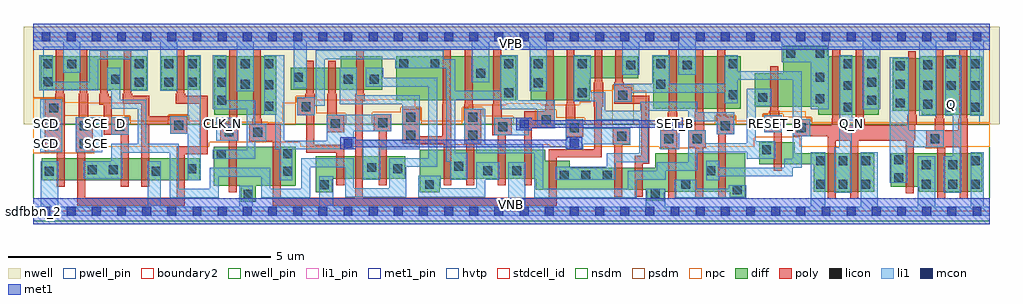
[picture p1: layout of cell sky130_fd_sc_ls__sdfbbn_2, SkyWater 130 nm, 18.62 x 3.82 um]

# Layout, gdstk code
import gdstk
lib = gdstk.Library(unit=1e-6, precision=1e-09)
def R(c, l, rs):  # rectangles x0, y0, x1, y1
    for r in rs: c.add(gdstk.rectangle(r[:2], r[2:], *l))
def A(c, l, x, y, w, h, nx, ny, dx, dy):  # array of equal rectangles
    R(c, l, [(x+i*dx, y+j*dy, x+i*dx+w, y+j*dy+h) for i in range(nx) for j in range(ny)])
def P(c, l, *ps):  # polygons
    for p in ps: c.add(gdstk.Polygon(p, *l))
nwell_pin = (64, 16)
nwell = (64, 20)
diff = (65, 20)
poly = (66, 20)
licon = (66, 44)
li1_pin = (67, 16)
li1 = (67, 20)
mcon = (67, 44)
met1_pin = (68, 16)
met1 = (68, 20)
hvtp = (78, 44)
stdcell_id = (81, 4)
nsdm = (93, 44)
psdm = (94, 20)
npc = (95, 20)
pwell_pin = (122, 16)
boundary2 = (236, 0)

sky130_fd_sc_ls__sdfbbn_ = lib.new_cell('sky130_fd_sc_ls__sdfbbn_2')
R(sky130_fd_sc_ls__sdfbbn_, nwell_pin, [(0,3.085,18.24,3.33)])
R(sky130_fd_sc_ls__sdfbbn_, nwell, [(-0.19,1.66,18.43,3.52)])
R(sky130_fd_sc_ls__sdfbbn_, diff, [(0.16,0.595,3.17,1.015), (3.445,1.84,4.635,2.96), (11.825,1.96,13.495,2.96), (6.92,2.12,9.215,2.96), (0.135,2.32,2.165,2.96), (2.435,2.32,3.175,2.96)])
P(sky130_fd_sc_ls__sdfbbn_, diff, [(5,1.23),(3.44,1.23),(3.44,0.49),(3.95,0.49),(3.95,0.18),(4.24,0.18),(4.24,0.49),(5,0.49)],
  [(6.65,2.96),(5.86,2.96),(5.86,2.74),(4.905,2.74),(4.905,2.32),(6.65,2.32)],
  [(7.095,1.045),(5.39,1.045),(5.39,0.36),(5.7,0.36),(5.7,0.625),(7.095,0.625)],
  [(11.54,2.96),(9.485,2.96),(9.485,2.12),(10.615,2.12),(10.615,2.54),(11.54,2.54)],
  [(13.575,1.11),(11.86,1.11),(11.86,0.83),(10.235,0.83),(10.235,0.96),(9.76,0.96),(9.76,1.175),(7.365,1.175),(7.365,0.365),(7.75,0.365),(7.75,0.625),(9.585,0.625),(9.585,0.41),(11.7,0.41),(11.7,0.2),(12.035,0.2),(12.035,0.37),(13.285,0.37),(13.285,0.265),(13.575,0.265)],
  [(16.045,1.11),(14.525,1.11),(14.525,1.32),(13.845,1.32),(13.845,0.9),(14.89,0.9),(14.89,0.37),(16.045,0.37)],
  [(16.125,2.96),(15.15,2.96),(15.15,3.155),(14.3,3.155),(14.3,2.635),(13.765,2.635),(13.765,1.995),(14.975,1.995),(14.975,1.84),(16.125,1.84)],
  [(18.105,2.96),(16.925,2.96),(16.925,2.92),(16.395,2.92),(16.395,1.92),(16.945,1.92),(16.945,1.84),(18.105,1.84)],
  [(18.105,1.11),(16.36,1.11),(16.36,0.47),(16.89,0.47),(16.89,0.37),(18.105,0.37)])
P(sky130_fd_sc_ls__sdfbbn_, poly, [(17.825,1.765),(17.81,1.765),(17.81,3.09),(17.66,3.09),(17.66,1.765),(17.645,1.765),(17.645,1.55),(17.375,1.55),(17.375,1.765),(17.36,1.765),(17.36,3.09),(17.21,3.09),(17.21,1.765),(17.195,1.765),(17.195,1.55),(17.035,1.55),(17.035,1.22),(17.245,1.22),(17.245,0.24),(17.395,0.24),(17.395,1.22),(17.675,1.22),(17.675,0.24),(17.825,0.24)],
  [(16.85,1.845),(16.835,1.845),(16.835,3.05),(16.685,3.05),(16.685,1.845),(16.67,1.845),(16.67,1.645),(15.855,1.645),(15.855,1.765),(15.84,1.765),(15.84,3.09),(15.69,3.09),(15.69,1.765),(15.675,1.765),(15.675,1.645),(15.405,1.645),(15.405,1.765),(15.39,1.765),(15.39,3.09),(15.24,3.09),(15.24,1.765),(15.225,1.765),(15.225,1.645),(14.815,1.645),(14.815,1.76),(14.485,1.76),(14.485,1.43),(15.155,1.43),(15.155,0.24),(15.305,0.24),(15.305,1.35),(15.585,1.35),(15.585,0.24),(15.735,0.24),(15.735,1.35),(16.645,1.35),(16.645,0.34),(16.795,0.34),(16.795,1.35),(16.825,1.35),(16.825,1.65),(16.85,1.65)],
  [(14.275,1.835),(14.225,1.835),(14.225,1.92),(14.21,1.92),(14.21,2.765),(14.06,2.765),(14.06,1.92),(14.045,1.92),(14.045,1.835),(13.945,1.835),(13.945,1.505),(14.125,1.505),(14.125,0.77),(14.275,0.77)],
  [(13.365,1.8),(13.215,1.8),(13.215,1.885),(13.2,1.885),(13.2,3.09),(13.05,3.09),(13.05,1.885),(13.035,1.885),(13.035,1.47),(13.06,1.47),(13.06,0.24),(13.21,0.24),(13.21,1.47),(13.365,1.47)],
  [(12.825,1.55),(12.795,1.55),(12.795,1.885),(12.78,1.885),(12.78,3.09),(12.63,3.09),(12.63,1.885),(12.615,1.885),(12.615,1.55),(12.495,1.55),(12.495,1.22),(12.63,1.22),(12.63,0.24),(12.78,0.24),(12.78,1.22),(12.825,1.22)],
  [(12.285,1.885),(12.27,1.885),(12.27,3.09),(12.12,3.09),(12.12,1.885),(12.105,1.885),(12.105,1.55),(11.955,1.55),(11.955,1.22),(12.11,1.22),(12.11,0.24),(12.26,0.24),(12.26,1.22),(12.285,1.22)],
  [(11.745,2.2),(11.41,2.2),(11.41,2.38),(11.26,2.38),(11.26,2.465),(11.245,2.465),(11.245,3.09),(11.095,3.09),(11.095,2.465),(11.08,2.465),(11.08,2.05),(11.595,2.05),(11.595,1.055),(11.475,1.055),(11.475,0.28),(11.625,0.28),(11.625,0.905),(11.745,0.905)],
  [(11.385,1.595),(11.055,1.595),(11.055,1.265),(11.085,1.265),(11.085,0.28),(11.235,0.28),(11.235,1.265),(11.385,1.265)],
  [(10.87,2.465),(10.855,2.465),(10.855,3.09),(10.705,3.09),(10.705,2.465),(10.69,2.465),(10.69,1.995),(10.695,1.995),(10.695,1.185),(9.835,1.185),(9.835,0.255),(6.285,0.255),(6.285,2.095),(6.32,2.095),(6.32,2.245),(6.305,2.245),(6.305,3.09),(6.155,3.09),(6.155,2.245),(6.135,2.245),(6.135,0.255),(4.715,0.255),(4.715,1.67),(4.355,1.67),(4.355,1.765),(4.34,1.765),(4.34,3.09),(4.19,3.09),(4.19,1.765),(4.175,1.765),(4.175,1.67),(4.115,1.67),(4.115,1.34),(4.565,1.34),(4.565,0.105),(9.985,0.105),(9.985,1.035),(10.845,1.035),(10.845,1.995),(10.87,1.995)],
  [(10.485,1.755),(10.335,1.755),(10.335,2.045),(10.32,2.045),(10.32,3.09),(10.17,3.09),(10.17,2.045),(10.155,2.045),(10.155,1.425),(10.485,1.425)],
  [(9.945,2.045),(9.93,2.045),(9.93,3.09),(9.78,3.09),(9.78,2.045),(9.765,2.045),(9.765,1.91),(9.36,1.91),(9.36,0.495),(9.51,0.495),(9.51,1.58),(9.945,1.58)],
  [(9.12,1.78),(8.935,1.78),(8.935,2.045),(8.92,2.045),(8.92,3.09),(8.77,3.09),(8.77,2.045),(8.755,2.045),(8.755,1.45),(8.86,1.45),(8.86,0.495),(9.01,0.495),(9.01,1.45),(9.12,1.45)],
  [(8.545,1.955),(8.395,1.955),(8.395,2.045),(8.38,2.045),(8.38,3.09),(8.23,3.09),(8.23,2.045),(8.215,2.045),(8.215,1.285),(8.255,1.285),(8.255,0.495),(8.405,0.495),(8.405,1.285),(8.545,1.285)],
  [(7.975,2.045),(7.96,2.045),(7.96,3.09),(7.81,3.09),(7.81,2.045),(7.795,2.045),(7.795,1.435),(7.365,1.435),(7.365,1.955),(7.035,1.955),(7.035,1.285),(7.825,1.285),(7.825,0.495),(7.975,0.495)],
  [(6.825,1.855),(6.495,1.855),(6.495,1.525),(6.59,1.525),(6.59,0.495),(6.74,0.495),(6.74,1.525),(6.825,1.525)],
  [(5.925,1.27),(5.355,1.27),(5.355,1.83),(5.365,1.83),(5.365,2.245),(5.35,2.245),(5.35,2.87),(5.2,2.87),(5.2,2.245),(5.185,2.245),(5.185,2.16),(5.035,2.16),(5.035,1.83),(5.205,1.83),(5.205,1.12),(5.775,1.12),(5.775,0.495),(5.925,0.495)],
  [(5.925,1.84),(5.785,1.84),(5.785,2.245),(5.77,2.245),(5.77,2.87),(5.62,2.87),(5.62,2.245),(5.605,2.245),(5.605,1.84),(5.595,1.84),(5.595,1.51),(5.925,1.51)],
  [(3.905,1.765),(3.89,1.765),(3.89,3.09),(3.74,3.09),(3.74,1.765),(3.725,1.765),(3.725,1.68),(3.565,1.68),(3.565,1.35),(3.725,1.35),(3.725,0.36),(3.875,0.36),(3.875,1.35),(3.905,1.35)],
  [(3.325,2.2),(2.895,2.2),(2.895,2.245),(2.88,2.245),(2.88,3.09),(2.73,3.09),(2.73,2.245),(2.715,2.245),(2.715,2.05),(3.175,2.05),(3.175,1.24),(2.735,1.24),(2.735,0.255),(0.985,0.255),(0.985,1.125),(1.135,1.125),(1.135,1.795),(1.045,1.795),(1.045,2.245),(1.03,2.245),(1.03,3.09),(0.88,3.09),(0.88,2.245),(0.865,2.245),(0.865,1.795),(0.805,1.795),(0.805,1.125),(0.835,1.125),(0.835,0.105),(2.885,0.105),(2.885,1.09),(3.325,1.09)],
  [(2.935,1.81),(2.205,1.81),(2.205,2.2),(1.885,2.2),(1.885,2.245),(1.87,2.245),(1.87,3.09),(1.72,3.09),(1.72,2.245),(1.705,2.245),(1.705,2.05),(2.055,2.05),(2.055,0.465),(2.205,0.465),(2.205,1.66),(2.605,1.66),(2.605,1.48),(2.935,1.48)],
  [(1.815,1.79),(1.495,1.79),(1.495,2.185),(1.435,2.185),(1.435,2.245),(1.42,2.245),(1.42,3.09),(1.27,3.09),(1.27,2.245),(1.255,2.245),(1.255,2.035),(1.345,2.035),(1.345,1.46),(1.665,1.46),(1.665,0.465),(1.815,0.465)],
  [(0.595,2.245),(0.58,2.245),(0.58,3.09),(0.43,3.09),(0.43,2.245),(0.415,2.245),(0.415,2.135),(0.22,2.135),(0.22,1.125),(0.445,1.125),(0.445,0.465),(0.595,0.465)])
A(sky130_fd_sc_ls__sdfbbn_, licon, 14.93, 0.43, 0.17, 0.17, 3, 2, 0.43, 0.45)
A(sky130_fd_sc_ls__sdfbbn_, licon, 10.04, 0.6, 0.17, 0.17, 3, 1, 0.41, 0)
A(sky130_fd_sc_ls__sdfbbn_, licon, 0.3, 1.205, 0.17, 0.17, 1, 3, 0, 0.34)
A(sky130_fd_sc_ls__sdfbbn_, licon, 15.455, 1.9, 0.17, 0.17, 1, 3, 0, 0.415)
A(sky130_fd_sc_ls__sdfbbn_, licon, 17.425, 1.9, 0.17, 0.17, 1, 3, 0, 0.415)
A(sky130_fd_sc_ls__sdfbbn_, licon, 17.875, 1.9, 0.17, 0.17, 1, 3, 0, 0.415)
A(sky130_fd_sc_ls__sdfbbn_, licon, 16.45, 1.98, 0.17, 0.17, 1, 3, 0, 0.355)
A(sky130_fd_sc_ls__sdfbbn_, licon, 15.905, 2.03, 0.17, 0.17, 1, 3, 0, 0.35)
A(sky130_fd_sc_ls__sdfbbn_, licon, 3.505, 2.73, 0.17, 0.17, 3, 1, 0.45, 0)
R(sky130_fd_sc_ls__sdfbbn_, licon, [(4.01,0.24,4.18,0.41), (11.78,0.26,11.95,0.43), (13.345,0.325,13.515,0.495), (5.46,0.42,5.63,0.59), (7.47,0.425,7.64,0.595), (12.36,0.43,12.53,0.6), (16.95,0.43,17.12,0.6), (17.45,0.43,17.62,0.6), (17.88,0.43,18.05,0.6), (16.42,0.56,16.59,0.73), (2.26,0.675,2.43,0.845), (4.77,0.675,4.94,0.845), (0.22,0.68,0.39,0.85), (8.58,0.685,8.75,0.855), (9.135,0.685,9.305,0.855), (12.835,0.69,13.005,0.86), (1.04,0.705,1.21,0.875), (1.44,0.705,1.61,0.875), (6.865,0.725,7.035,0.895), (2.94,0.73,3.11,0.9), (6.365,0.75,6.535,0.92), (8.03,0.775,8.2,0.945), (16.95,0.8,17.12,0.97), (17.45,0.8,17.62,0.97), (17.88,0.88,18.05,1.05), (16.42,0.9,16.59,1.07), (3.5,1,3.67,1.17), (4.77,1.015,4.94,1.185), (13.9,1.085,14.07,1.255), (0.885,1.205,1.055,1.375), (12.035,1.3,12.205,1.47), (12.575,1.3,12.745,1.47), (17.115,1.3,17.285,1.47), (11.135,1.345,11.305,1.515), (7.115,1.365,7.285,1.535), (8.295,1.365,8.465,1.535), (4.195,1.42,4.365,1.59), (3.645,1.43,3.815,1.6), (10.235,1.505,10.405,1.675), (14.565,1.51,14.735,1.68), (8.87,1.53,9.04,1.7), (1.565,1.54,1.735,1.71), (0.885,1.545,1.055,1.715), (13.115,1.55,13.285,1.72), (2.685,1.56,2.855,1.73), (14.025,1.585,14.195,1.755), (5.675,1.59,5.845,1.76), (6.575,1.605,6.745,1.775), (9.695,1.66,9.865,1.83), (7.115,1.705,7.285,1.875), (8.295,1.705,8.465,1.875), (5.115,1.91,5.285,2.08), (4.405,1.92,4.575,2.09), (16.975,1.96,17.145,2.13), (3.505,2.03,3.675,2.2), (14.92,2.065,15.09,2.235), (13.825,2.085,13.995,2.255), (11.16,2.13,11.33,2.3), (13.265,2.14,13.435,2.31), (8.985,2.18,9.155,2.35), (10.385,2.18,10.555,2.35), (16.975,2.32,17.145,2.49), (4.405,2.325,4.575,2.495), (3.955,2.34,4.125,2.51), (11.885,2.34,12.055,2.51), (9.545,2.37,9.715,2.54), (1.935,2.38,2.105,2.55), (2.495,2.38,2.665,2.55), (2.945,2.38,3.115,2.55), (3.505,2.38,3.675,2.55), (0.195,2.385,0.365,2.555), (1.485,2.43,1.655,2.6), (5.92,2.43,6.09,2.6), (6.42,2.43,6.59,2.6), (4.965,2.47,5.135,2.64), (14.92,2.475,15.09,2.645), (8.445,2.545,8.615,2.715), (11.31,2.705,11.48,2.875), (12.385,2.705,12.555,2.875), (16.975,2.71,17.145,2.88), (0.645,2.725,0.815,2.895), (0.195,2.73,0.365,2.9), (1.935,2.73,2.105,2.9), (2.495,2.73,2.665,2.9), (2.945,2.73,3.115,2.9), (6.98,2.73,7.15,2.9), (7.575,2.73,7.745,2.9), (8.985,2.73,9.155,2.9), (9.545,2.73,9.715,2.9), (10.385,2.73,10.555,2.9), (11.885,2.73,12.055,2.9), (13.265,2.73,13.435,2.9), (14.36,2.925,14.53,3.095), (14.92,2.925,15.09,3.095)])
R(sky130_fd_sc_ls__sdfbbn_, li1_pin, [(0.155,1.21,0.325,1.38), (1.115,1.21,1.285,1.38), (0.155,1.58,0.325,1.75), (1.115,1.58,1.285,1.75), (1.595,1.58,1.765,1.75), (3.515,1.58,3.685,1.75), (14.075,1.58,14.245,1.75), (15.515,1.58,15.685,1.75), (17.435,1.95,17.605,2.12)])
R(sky130_fd_sc_ls__sdfbbn_, li1, [(0.125,1.125,0.55,2.135), (0.805,1.125,1.315,1.795), (11.955,1.18,12.325,1.75), (3.485,1.35,3.895,1.78), (8.79,1.45,9.445,1.78), (1.485,1.46,1.815,1.79), (13.945,1.505,14.275,1.835)])
P(sky130_fd_sc_ls__sdfbbn_, li1, [(18.24,3.415),(0,3.415),(0,3.245),(0.565,3.245),(0.565,2.645),(0.895,2.645),(0.895,3.245),(2.415,3.245),(2.415,2.3),(2.745,2.3),(2.745,3.245),(3.875,3.245),(3.875,2.29),(4.205,2.29),(4.205,3.245),(4.965,3.245),(4.965,2.35),(5.215,2.35),(5.215,3.245),(8.365,3.245),(8.365,2.465),(8.695,2.465),(8.695,3.245),(9.465,3.245),(9.465,2.29),(9.795,2.29),(9.795,3.245),(11.23,3.245),(11.23,2.6),(11.56,2.6),(11.56,3.245),(12.305,3.245),(12.305,2.6),(12.635,2.6),(12.635,3.245),(14.28,3.245),(14.28,2.845),(14.825,2.845),(14.825,1.95),(15.17,1.95),(15.17,3.245),(15.825,3.245),(15.825,1.95),(16.155,1.95),(16.155,3.245),(16.895,3.245),(16.895,1.82),(17.225,1.82),(17.225,3.245),(17.875,3.245),(17.875,1.82),(18.125,1.82),(18.125,3.245),(18.24,3.245)],
  [(11.68,0.085),(11.68,0.43),(12.055,0.43),(12.055,0.085),(14.825,0.085),(14.825,1.13),(15.11,1.13),(15.11,0.085),(15.78,0.085),(15.78,1.13),(16.11,1.13),(16.11,0.085),(16.87,0.085),(16.87,1.05),(17.2,1.05),(17.2,0.085),(17.88,0.085),(17.88,1.13),(18.13,1.13),(18.13,0.085),(18.24,0.085),(18.24,-0.085),(0,-0.085),(0,0.085),(0.14,0.085),(0.14,0.955),(0.47,0.955),(0.47,0.085),(2.18,0.085),(2.18,0.95),(2.43,0.95),(2.43,0.085),(3.93,0.085),(3.93,0.49),(4.18,0.49),(4.18,0.085),(5.45,0.085),(5.45,0.67),(5.72,0.67),(5.72,0.085),(9.055,0.085),(9.055,0.94),(9.385,0.94),(9.385,0.085)],
  [(15.375,1.22),(15.375,2.98),(15.625,2.98),(15.625,1.78),(15.715,1.78),(15.715,1.55),(15.61,1.55),(15.61,0.35),(15.28,0.35),(15.28,1.22)],
  [(5.595,1.35),(5.595,1.84),(6.495,1.84),(6.495,1.855),(6.825,1.855),(6.825,1.525),(6.115,1.525),(6.115,1.18),(4.94,1.18),(4.94,0.595),(4.69,0.595),(4.69,1.18),(4.615,1.18),(4.615,1.84),(4.405,1.84),(4.405,2.98),(4.785,2.98),(4.785,1.35)],
  [(17.395,1.82),(17.395,2.98),(17.705,2.98),(17.705,0.35),(17.37,0.35),(17.37,1.05),(17.535,1.05),(17.535,1.82)],
  [(16.7,1.55),(17.365,1.55),(17.365,1.22),(16.67,1.22),(16.67,0.54),(16.34,0.54),(16.34,2.94),(16.7,2.94)],
  [(11.41,2.26),(11.41,2.09),(11.08,2.09),(11.08,2.43),(11.805,2.43),(11.805,2.98),(12.135,2.98),(12.135,2.43),(13.185,2.43),(13.185,2.98),(13.435,2.98),(13.435,2.675),(14.655,2.675),(14.655,1.76),(14.815,1.76),(14.815,1.43),(14.655,1.43),(14.655,0.835),(14.49,0.835),(14.49,0.665),(13.085,0.665),(13.085,0.595),(12.835,0.595),(12.835,0.96),(13.085,0.96),(13.085,0.835),(14.32,0.835),(14.32,1.005),(14.485,1.005),(14.485,2.505),(13.435,2.505),(13.435,2.06),(13.185,2.06),(13.185,2.26)],
  [(10.635,2.27),(10.91,2.27),(10.91,1.92),(11.58,1.92),(11.58,2.09),(12.665,2.09),(12.665,1.89),(13.365,1.89),(13.365,1.47),(13.035,1.47),(13.035,1.72),(12.495,1.72),(12.495,1.92),(11.75,1.92),(11.75,1.75),(11.725,1.75),(11.725,0.94),(11.11,0.94),(11.11,0.6),(9.96,0.6),(9.96,0.85),(10.94,0.85),(10.94,1.11),(11.555,1.11),(11.555,1.75),(10.74,1.75),(10.74,2.1),(10.305,2.1),(10.305,2.98),(10.635,2.98)],
  [(8.045,2.295),(8.905,2.295),(8.905,2.98),(9.235,2.98),(9.235,2.12),(9.945,2.12),(9.945,1.58),(9.615,1.58),(9.615,1.95),(8.905,1.95),(8.905,2.125),(8.045,2.125),(8.045,1.115),(8.28,1.115),(8.28,0.605),(7.95,0.605),(7.95,0.945),(7.875,0.945),(7.875,2.73),(6.9,2.73),(6.9,2.905),(5.555,2.905),(5.555,2.01),(5.365,2.01),(5.365,1.83),(5.035,1.83),(5.035,2.18),(5.385,2.18),(5.385,3.075),(7.825,3.075),(7.825,2.9),(8.045,2.9)],
  [(2.945,1.81),(2.945,2.98),(3.195,2.98),(3.195,0.595),(2.94,0.595),(2.94,1.48),(2.605,1.48),(2.605,1.81)],
  [(3.675,2.12),(4.235,2.12),(4.235,1.67),(4.445,1.67),(4.445,1.34),(4.235,1.34),(4.235,1),(3.42,1),(3.42,1.17),(4.065,1.17),(4.065,1.95),(3.425,1.95),(3.425,2.98),(3.675,2.98)],
  [(1.855,2.905),(1.235,2.905),(1.235,2.305),(0.115,2.305),(0.115,2.98),(0.365,2.98),(0.365,2.475),(1.065,2.475),(1.065,3.075),(2.185,3.075),(2.185,2.3),(1.855,2.3)],
  [(7.535,1.015),(7.535,2.38),(6.34,2.38),(6.34,2.735),(6.67,2.735),(6.67,2.55),(7.705,2.55),(7.705,0.845),(7.115,0.845),(7.115,0.265),(5.945,0.265),(5.945,0.84),(5.28,0.84),(5.28,0.255),(4.35,0.255),(4.35,0.66),(3.535,0.66),(3.535,0.255),(2.6,0.255),(2.6,1.12),(1.69,1.12),(1.69,0.625),(0.96,0.625),(0.96,0.955),(1.485,0.955),(1.485,1.29),(1.985,1.29),(1.985,1.96),(1.485,1.96),(1.485,2.3),(1.405,2.3),(1.405,2.735),(1.655,2.735),(1.655,2.13),(2.155,2.13),(2.155,1.29),(2.77,1.29),(2.77,0.425),(3.365,0.425),(3.365,0.83),(4.52,0.83),(4.52,0.425),(5.11,0.425),(5.11,1.01),(6.115,1.01),(6.115,0.435),(6.785,0.435),(6.785,1.015)],
  [(5.84,2.04),(5.84,2.735),(6.17,2.735),(6.17,2.21),(7.365,2.21),(7.365,1.185),(6.615,1.185),(6.615,0.605),(6.285,0.605),(6.285,1.355),(7.035,1.355),(7.035,2.04)],
  [(7.77,0.435),(8.45,0.435),(8.45,0.935),(8.885,0.935),(8.885,0.605),(8.62,0.605),(8.62,0.265),(7.345,0.265),(7.345,0.675),(7.77,0.675)],
  [(8.62,1.28),(9.725,1.28),(9.725,0.43),(11.34,0.43),(11.34,0.77),(11.895,0.77),(11.895,0.94),(12.495,0.94),(12.495,1.55),(12.825,1.55),(12.825,1.3),(13.605,1.3),(13.605,2.335),(14.075,2.335),(14.075,2.005),(13.775,2.005),(13.775,1.335),(14.15,1.335),(14.15,1.005),(13.605,1.005),(13.605,1.13),(12.665,1.13),(12.665,0.77),(12.065,0.77),(12.065,0.6),(11.51,0.6),(11.51,0.26),(9.555,0.26),(9.555,1.11),(8.45,1.11),(8.45,1.285),(8.215,1.285),(8.215,1.955),(8.62,1.955)],
  [(10.155,1.18),(10.155,1.755),(10.485,1.755),(10.485,1.58),(11.385,1.58),(11.385,1.28),(10.485,1.28),(10.485,1.18)],
  [(13.265,0.425),(13.265,0.495),(13.595,0.495),(13.595,0.255),(12.235,0.255),(12.235,0.6),(12.655,0.6),(12.655,0.425)])
A(sky130_fd_sc_ls__sdfbbn_, mcon, 0.155, -0.085, 0.17, 0.17, 38, 2, 0.48, 3.33)
R(sky130_fd_sc_ls__sdfbbn_, mcon, [(5.915,1.21,6.085,1.38), (10.235,1.21,10.405,1.38), (9.275,1.58,9.445,1.75), (12.155,1.58,12.325,1.75)])
R(sky130_fd_sc_ls__sdfbbn_, met1_pin, [(0,0,18.24,0.245), (12.155,1.58,12.325,1.75), (0,3.085,18.24,3.33)])
R(sky130_fd_sc_ls__sdfbbn_, met1, [(0,-0.245,18.24,0.245), (0,3.085,18.24,3.575)])
P(sky130_fd_sc_ls__sdfbbn_, met1, [(6.145,1.365),(10.175,1.365),(10.175,1.41),(10.465,1.41),(10.465,1.18),(10.175,1.18),(10.175,1.225),(6.145,1.225),(6.145,1.18),(5.855,1.18),(5.855,1.41),(6.145,1.41)],
  [(9.215,1.55),(9.215,1.78),(9.505,1.78),(9.505,1.735),(12.095,1.735),(12.095,1.78),(12.385,1.78),(12.385,1.55),(12.095,1.55),(12.095,1.595),(9.505,1.595),(9.505,1.55)])
R(sky130_fd_sc_ls__sdfbbn_, hvtp, [(0.19,1.66,18.05,3.14)])
R(sky130_fd_sc_ls__sdfbbn_, stdcell_id, [(0,0,18.24,3.33)])
R(sky130_fd_sc_ls__sdfbbn_, nsdm, [(0,-0.19,18.24,1.66)])
P(sky130_fd_sc_ls__sdfbbn_, psdm, [(18.24,3.52),(0,3.52),(0,2.165),(0.58,2.165),(0.58,1.825),(1.165,1.825),(1.165,1.82),(1.845,1.82),(1.845,1.66),(2.575,1.66),(2.575,1.84),(2.965,1.84),(2.965,1.66),(3.535,1.66),(3.535,1.71),(3.925,1.71),(3.925,1.7),(4.475,1.7),(4.475,1.66),(5.005,1.66),(5.005,2.19),(5.395,2.19),(5.395,1.87),(5.955,1.87),(5.955,1.66),(6.465,1.66),(6.465,1.885),(7.005,1.885),(7.005,1.985),(7.395,1.985),(7.395,1.66),(8.185,1.66),(8.185,1.985),(8.575,1.985),(8.575,1.81),(9.15,1.81),(9.15,1.66),(9.585,1.66),(9.585,1.94),(9.975,1.94),(9.975,1.785),(10.515,1.785),(10.515,1.66),(11.05,1.66),(11.05,2.41),(11.44,2.41),(11.44,1.66),(13.005,1.66),(13.005,1.83),(13.395,1.83),(13.395,1.66),(13.915,1.66),(13.915,1.865),(14.305,1.865),(14.305,1.79),(14.845,1.79),(14.845,1.66),(18.24,1.66)])
P(sky130_fd_sc_ls__sdfbbn_, npc, [(18.24,1.7),(14.835,1.7),(14.835,1.78),(14.73,1.78),(14.73,1.905),(14.03,1.905),(14.03,1.855),(13.925,1.855),(13.925,1.73),(13.385,1.73),(13.385,1.82),(13.015,1.82),(13.015,1.73),(11.695,1.73),(11.695,2.295),(11.43,2.295),(11.43,2.4),(11.06,2.4),(11.06,2.305),(10.645,2.305),(10.645,2.09),(10.425,2.09),(10.425,2.03),(9.675,2.03),(9.675,2.065),(9.025,2.065),(9.025,2.03),(8.3,2.03),(8.3,1.975),(8.195,1.975),(8.195,1.73),(7.385,1.73),(7.385,1.975),(7.28,1.975),(7.28,2.14),(6.58,2.14),(6.58,2.125),(5.385,2.125),(5.385,2.18),(5.015,2.18),(5.015,2.075),(4.75,2.075),(4.75,1.7),(3.305,1.7),(3.305,1.73),(2.955,1.73),(2.955,1.83),(2.585,1.83),(2.585,1.73),(1.835,1.73),(1.835,1.81),(1.73,1.81),(1.73,2.075),(1.05,2.075),(1.05,2.08),(0.57,2.08),(0.57,2.155),(0,2.155),(0,1.105),(1.155,1.105),(1.155,1.23),(3.35,1.23),(3.35,1.32),(5.09,1.32),(5.09,1.23),(7.275,1.23),(7.275,1.265),(9.85,1.265),(9.85,1.23),(11.935,1.23),(11.935,1.2),(12.845,1.2),(12.845,1.23),(13.755,1.23),(13.755,1.41),(14.615,1.41),(14.615,1.23),(17.015,1.23),(17.015,1.2),(17.385,1.2),(17.385,1.23),(18.24,1.23)])
R(sky130_fd_sc_ls__sdfbbn_, pwell_pin, [(0,0,18.24,0.245)])
R(sky130_fd_sc_ls__sdfbbn_, boundary2, [(0,0,18.24,3.33)])
sky130_fd_sc_ls__sdfbbn_.add(gdstk.Label('sdfbbn_2', (0,0), layer=83, texttype=44))
sky130_fd_sc_ls__sdfbbn_.add(gdstk.Label('VNB', (9.12,0.123), layer=64, texttype=59))
sky130_fd_sc_ls__sdfbbn_.add(gdstk.Label('VPB', (9.12,3.208), layer=64, texttype=5))
sky130_fd_sc_ls__sdfbbn_.add(gdstk.Label('SET_B', (12.24,1.665), layer=68, texttype=5))
sky130_fd_sc_ls__sdfbbn_.add(gdstk.Label('VPWR', (9.12,3.208), layer=68, texttype=5))
sky130_fd_sc_ls__sdfbbn_.add(gdstk.Label('VGND', (9.12,0.123), layer=68, texttype=5))
sky130_fd_sc_ls__sdfbbn_.add(gdstk.Label('SCD', (0.24,1.295), layer=67, texttype=5))
sky130_fd_sc_ls__sdfbbn_.add(gdstk.Label('SCD', (0.24,1.665), layer=67, texttype=5))
sky130_fd_sc_ls__sdfbbn_.add(gdstk.Label('SCE', (1.2,1.295), layer=67, texttype=5))
sky130_fd_sc_ls__sdfbbn_.add(gdstk.Label('SCE', (1.2,1.665), layer=67, texttype=5))
sky130_fd_sc_ls__sdfbbn_.add(gdstk.Label('D', (1.68,1.665), layer=67, texttype=5))
sky130_fd_sc_ls__sdfbbn_.add(gdstk.Label('CLK_N', (3.6,1.665), layer=67, texttype=5))
sky130_fd_sc_ls__sdfbbn_.add(gdstk.Label('Q_N', (15.6,1.665), layer=67, texttype=5))
sky130_fd_sc_ls__sdfbbn_.add(gdstk.Label('Q', (17.52,2.035), layer=67, texttype=5))
sky130_fd_sc_ls__sdfbbn_.add(gdstk.Label('RESET_B', (14.16,1.665), layer=67, texttype=5))

lib.write_gds('sky130_fd_sc_ls__sdfbbn_2.gds')
